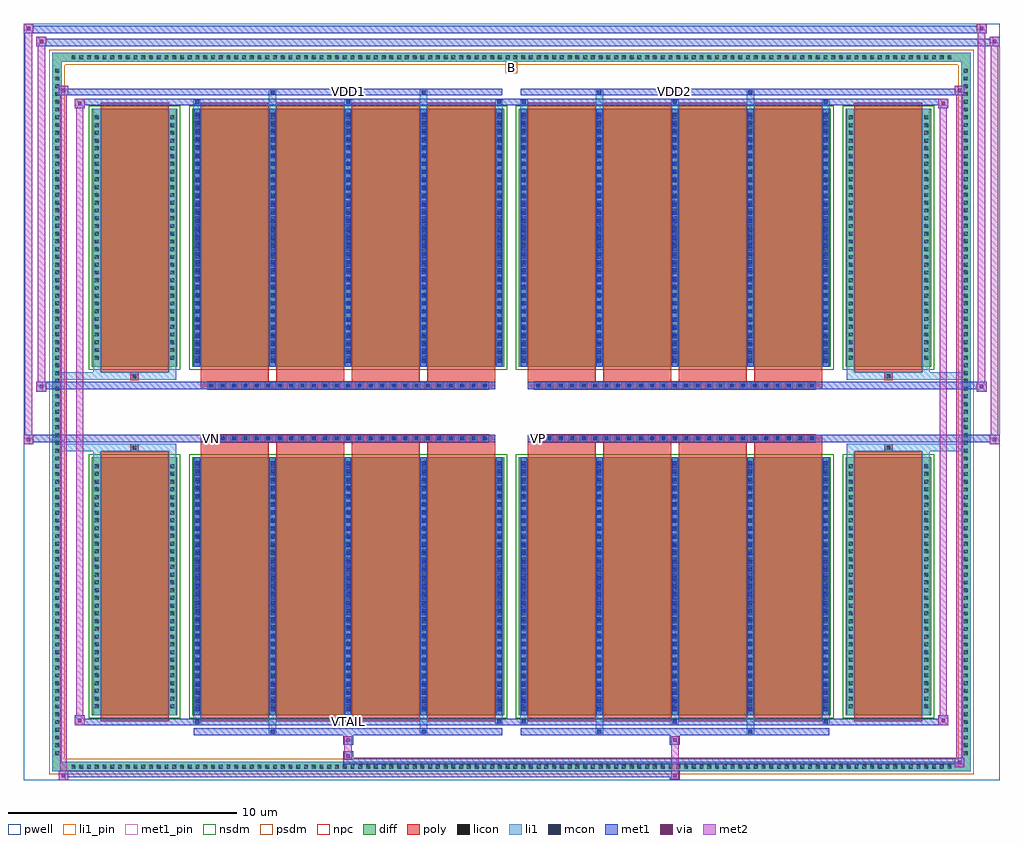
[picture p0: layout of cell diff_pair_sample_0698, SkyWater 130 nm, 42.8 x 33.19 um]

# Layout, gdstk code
import gdstk
lib = gdstk.Library(unit=1e-6, precision=5e-09)
def R(c, l, rs):  # rectangles x0, y0, x1, y1
    for r in rs: c.add(gdstk.rectangle(r[:2], r[2:], *l))
def A(c, l, x, y, w, h, nx, ny, dx, dy):  # array of equal rectangles
    R(c, l, [(x+i*dx, y+j*dy, x+i*dx+w, y+j*dy+h) for i in range(nx) for j in range(ny)])
def P(c, l, *ps):  # polygons
    for p in ps: c.add(gdstk.Polygon(p, *l))
pwell = (64, 44)
diff = (65, 20)
poly = (66, 20)
licon = (66, 44)
li1_pin = (67, 16)
li1 = (67, 20)
mcon = (67, 44)
met1_pin = (68, 16)
met1 = (68, 20)
via = (68, 44)
met2 = (69, 20)
nsdm = (93, 44)
psdm = (94, 20)
npc = (95, 20)

diff_pair_sample_0698 = lib.new_cell('diff_pair_sample_0698')
R(diff_pair_sample_0698, pwell, [(-21.4,-16.16,21.4,17.03), (-18.72,-14.35,-0.01,-0.795), (0.01,-14.35,18.72,-0.795), (-18.72,0.795,-0.01,14.35), (0.01,0.795,18.72,14.35)])
A(diff_pair_sample_0698, diff, -19.415, -15.76, 0.41, 0.41, 114, 2, 0.34, 31.11)
A(diff_pair_sample_0698, diff, -20.13, -15.165, 0.41, 0.41, 1, 89, 0, 0.34)
A(diff_pair_sample_0698, diff, 19.72, -15.165, 0.41, 0.41, 1, 89, 0, 0.34)
R(diff_pair_sample_0698, diff, [(-19.415,-15.76,19.415,-15.35), (-20.13,-15.165,-19.72,15.165), (19.72,-15.165,20.13,15.165), (-18.41,-13.305,-14.65,-1.985), (-14.01,-13.305,-0.32,-1.985), (0.32,-13.305,14.01,-1.985), (14.65,-13.305,18.41,-1.985), (-18.41,1.985,-14.65,13.305), (-14.01,1.985,-0.32,13.305), (0.32,1.985,14.01,13.305), (14.65,1.985,18.41,13.305), (-19.415,15.35,19.415,15.76)])
P(diff_pair_sample_0698, diff, [(20.13,15.76),(-20.13,15.76),(-20.13,-15.35),(-19.72,-15.35),(-19.72,15.35),(19.72,15.35),(19.72,-15.35),(-19.72,-15.35),(-20.13,-15.35),(-20.13,-15.76),(20.13,-15.76)])
A(diff_pair_sample_0698, poly, -13.62, -13.555, 2.98, 11.82, 4, 2, 3.31, 15.29)
A(diff_pair_sample_0698, poly, 0.71, -13.555, 2.98, 11.82, 4, 2, 3.31, 15.29)
A(diff_pair_sample_0698, poly, -13.62, -1.735, 2.98, 0.41, 4, 2, 3.31, 3.06)
A(diff_pair_sample_0698, poly, 0.71, -1.735, 2.98, 0.41, 4, 2, 3.31, 3.06)
A(diff_pair_sample_0698, poly, -13.33, -1.325, 0.33, 0.33, 25, 2, 0.5, 2.32)
A(diff_pair_sample_0698, poly, 1, -1.325, 0.33, 0.33, 25, 2, 0.5, 2.32)
R(diff_pair_sample_0698, poly, [(-18.02,-13.555,-15.04,-1.735), (15.04,-13.555,18.02,-1.735), (-16.695,-1.735,-16.365,-1.405), (-16.695,-1.735,-16.365,-1.405), (16.365,-1.735,16.695,-1.405), (16.365,-1.735,16.695,-1.405), (-13.62,-1.325,-0.71,-0.995), (0.71,-1.325,13.62,-0.995), (-13.62,0.995,-0.71,1.325), (0.71,0.995,13.62,1.325), (-16.695,1.405,-16.365,1.735), (-16.695,1.405,-16.365,1.735), (16.365,1.405,16.695,1.735), (16.365,1.405,16.695,1.735), (-18.02,1.735,-15.04,13.555), (15.04,1.735,18.02,13.555)])
A(diff_pair_sample_0698, licon, -19.295, -15.64, 0.17, 0.17, 114, 2, 0.34, 31.11)
A(diff_pair_sample_0698, licon, -20.01, -15.045, 0.17, 0.17, 1, 89, 0, 0.34)
A(diff_pair_sample_0698, licon, 19.84, -15.045, 0.17, 0.17, 1, 89, 0, 0.34)
A(diff_pair_sample_0698, licon, -18.27, -13, 0.17, 0.17, 1, 32, 0, 0.34)
A(diff_pair_sample_0698, licon, -14.96, -13, 0.17, 0.17, 1, 32, 0, 0.34)
A(diff_pair_sample_0698, licon, -13.87, -13, 0.17, 0.17, 5, 32, 3.31, 0.34)
A(diff_pair_sample_0698, licon, 0.46, -13, 0.17, 0.17, 5, 32, 3.31, 0.34)
A(diff_pair_sample_0698, licon, 14.79, -13, 0.17, 0.17, 1, 32, 0, 0.34)
A(diff_pair_sample_0698, licon, 18.1, -13, 0.17, 0.17, 1, 32, 0, 0.34)
A(diff_pair_sample_0698, licon, -13.25, -1.245, 0.17, 0.17, 25, 2, 0.5, 2.32)
A(diff_pair_sample_0698, licon, 1.08, -1.245, 0.17, 0.17, 25, 2, 0.5, 2.32)
A(diff_pair_sample_0698, licon, -18.27, 2.29, 0.17, 0.17, 1, 32, 0, 0.34)
A(diff_pair_sample_0698, licon, -14.96, 2.29, 0.17, 0.17, 1, 32, 0, 0.34)
A(diff_pair_sample_0698, licon, -13.87, 2.29, 0.17, 0.17, 5, 32, 3.31, 0.34)
A(diff_pair_sample_0698, licon, 0.46, 2.29, 0.17, 0.17, 5, 32, 3.31, 0.34)
A(diff_pair_sample_0698, licon, 14.79, 2.29, 0.17, 0.17, 1, 32, 0, 0.34)
A(diff_pair_sample_0698, licon, 18.1, 2.29, 0.17, 0.17, 1, 32, 0, 0.34)
R(diff_pair_sample_0698, licon, [(-16.615,-1.655,-16.445,-1.485), (16.445,-1.655,16.615,-1.485), (-16.615,1.485,-16.445,1.655), (16.445,1.485,16.615,1.655)])
R(diff_pair_sample_0698, li1_pin, [(-0.25,14.85,0.25,15.35)])
A(diff_pair_sample_0698, li1, -19.375, -15.72, 0.33, 0.33, 114, 2, 0.34, 31.11)
A(diff_pair_sample_0698, li1, -20.09, -15.125, 0.33, 0.33, 1, 89, 0, 0.34)
A(diff_pair_sample_0698, li1, 19.76, -15.125, 0.33, 0.33, 1, 89, 0, 0.34)
A(diff_pair_sample_0698, li1, -13.95, -13.68, 0.33, 0.375, 3, 2, 6.62, 26.985)
A(diff_pair_sample_0698, li1, -13.87, -13.68, 0.17, 0.17, 3, 2, 6.62, 27.19)
A(diff_pair_sample_0698, li1, 0.38, -13.68, 0.33, 0.375, 3, 2, 6.62, 26.985)
A(diff_pair_sample_0698, li1, 0.46, -13.68, 0.17, 0.17, 3, 2, 6.62, 27.19)
A(diff_pair_sample_0698, li1, -13.95, -13.305, 0.33, 11.32, 5, 2, 3.31, 15.29)
A(diff_pair_sample_0698, li1, 0.38, -13.305, 0.33, 11.32, 5, 2, 3.31, 15.29)
A(diff_pair_sample_0698, li1, -13.87, -13.13, 0.17, 0.17, 5, 31, 3.31, 0.36)
A(diff_pair_sample_0698, li1, -13.87, -13.13, 0.17, 10.97, 5, 2, 3.31, 15.29)
A(diff_pair_sample_0698, li1, 0.46, -13.13, 0.17, 0.17, 5, 31, 3.31, 0.36)
A(diff_pair_sample_0698, li1, 0.46, -13.13, 0.17, 10.97, 5, 2, 3.31, 15.29)
A(diff_pair_sample_0698, li1, -18.35, -13.08, 0.33, 0.33, 1, 32, 0, 0.34)
A(diff_pair_sample_0698, li1, -15.04, -13.08, 0.33, 0.33, 1, 32, 0, 0.34)
A(diff_pair_sample_0698, li1, -13.95, -13.08, 0.33, 0.33, 5, 32, 3.31, 0.34)
A(diff_pair_sample_0698, li1, 0.38, -13.08, 0.33, 0.33, 5, 32, 3.31, 0.34)
A(diff_pair_sample_0698, li1, 14.71, -13.08, 0.33, 0.33, 1, 32, 0, 0.34)
A(diff_pair_sample_0698, li1, 18.02, -13.08, 0.33, 0.33, 1, 32, 0, 0.34)
A(diff_pair_sample_0698, li1, -13.33, -1.325, 0.33, 0.33, 25, 2, 0.5, 2.32)
A(diff_pair_sample_0698, li1, 1, -1.325, 0.33, 0.33, 25, 2, 0.5, 2.32)
A(diff_pair_sample_0698, li1, -13.87, 2.16, 0.17, 0.17, 5, 31, 3.31, 0.36)
A(diff_pair_sample_0698, li1, 0.46, 2.16, 0.17, 0.17, 5, 31, 3.31, 0.36)
A(diff_pair_sample_0698, li1, -18.35, 2.21, 0.33, 0.33, 1, 32, 0, 0.34)
A(diff_pair_sample_0698, li1, -15.04, 2.21, 0.33, 0.33, 1, 32, 0, 0.34)
A(diff_pair_sample_0698, li1, -13.95, 2.21, 0.33, 0.33, 5, 32, 3.31, 0.34)
A(diff_pair_sample_0698, li1, 0.38, 2.21, 0.33, 0.33, 5, 32, 3.31, 0.34)
A(diff_pair_sample_0698, li1, 14.71, 2.21, 0.33, 0.33, 1, 32, 0, 0.34)
A(diff_pair_sample_0698, li1, 18.02, 2.21, 0.33, 0.33, 1, 32, 0, 0.34)
R(diff_pair_sample_0698, li1, [(-20.13,-15.76,-19.72,-15.35), (-20.13,-15.76,-19.72,-15.35), (-19.72,-15.76,19.72,-15.35), (19.72,-15.76,20.13,-15.35), (19.72,-15.76,20.13,-15.35), (-20.13,-15.35,-19.72,15.35), (19.72,-15.35,20.13,15.35), (-10.64,-14.11,-10.31,-13.305), (-10.56,-14.11,-10.39,-13.94), (-4.02,-14.11,-3.69,-13.305), (-3.94,-14.11,-3.77,-13.94), (3.69,-14.11,4.02,-13.305), (3.77,-14.11,3.94,-13.94), (10.31,-14.11,10.64,-13.305), (10.39,-14.11,10.56,-13.94), (-18.35,-13.305,-18.02,-1.985), (-15.04,-13.305,-14.71,-1.985), (14.71,-13.305,15.04,-1.985), (18.02,-13.305,18.35,-1.985), (-18.35,-1.985,-18.02,-1.405), (-15.04,-1.985,-14.71,-1.405), (14.71,-1.985,15.04,-1.405), (18.02,-1.985,18.35,-1.405), (-20.13,-1.735,-16.695,-1.405), (-18.35,-1.735,-16.695,-1.405), (-16.695,-1.735,-16.365,-1.405), (-16.365,-1.735,-14.71,-1.405), (14.71,-1.735,16.365,-1.405), (16.365,-1.735,16.695,-1.405), (16.365,-1.735,20.13,-1.405), (16.695,-1.735,18.35,-1.405), (-20.13,1.405,-16.695,1.735), (-18.35,1.405,-16.695,1.735), (-18.35,1.405,-18.02,1.985), (-16.695,1.405,-16.365,1.735), (-16.365,1.405,-14.71,1.735), (-15.04,1.405,-14.71,1.985), (14.71,1.405,16.365,1.735), (14.71,1.405,15.04,1.985), (16.365,1.405,16.695,1.735), (16.365,1.405,20.13,1.735), (16.695,1.405,18.35,1.735), (18.02,1.405,18.35,1.985), (-18.35,1.985,-18.02,13.305), (-15.04,1.985,-14.71,13.305), (14.71,1.985,15.04,13.305), (18.02,1.985,18.35,13.305), (-10.64,13.305,-10.31,14.11), (-4.02,13.305,-3.69,14.11), (3.69,13.305,4.02,14.11), (10.31,13.305,10.64,14.11), (-10.56,13.94,-10.39,14.11), (-3.94,13.94,-3.77,14.11), (3.77,13.94,3.94,14.11), (10.39,13.94,10.56,14.11), (-20.13,15.35,-19.72,15.76), (-20.13,15.35,-19.72,15.76), (-19.72,15.35,19.72,15.76), (19.72,15.35,20.13,15.76), (19.72,15.35,20.13,15.76)])
A(diff_pair_sample_0698, mcon, -13.87, -13.68, 0.17, 0.17, 3, 2, 6.62, 27.19)
A(diff_pair_sample_0698, mcon, 0.46, -13.68, 0.17, 0.17, 3, 2, 6.62, 27.19)
A(diff_pair_sample_0698, mcon, -13.87, -13.13, 0.17, 0.17, 5, 31, 3.31, 0.36)
A(diff_pair_sample_0698, mcon, 0.46, -13.13, 0.17, 0.17, 5, 31, 3.31, 0.36)
A(diff_pair_sample_0698, mcon, -13.25, -1.245, 0.17, 0.17, 25, 2, 0.5, 2.32)
A(diff_pair_sample_0698, mcon, 1.08, -1.245, 0.17, 0.17, 25, 2, 0.5, 2.32)
A(diff_pair_sample_0698, mcon, -13.87, 2.16, 0.17, 0.17, 5, 31, 3.31, 0.36)
A(diff_pair_sample_0698, mcon, 0.46, 2.16, 0.17, 0.17, 5, 31, 3.31, 0.36)
R(diff_pair_sample_0698, mcon, [(-10.56,-14.11,-10.39,-13.94), (-3.94,-14.11,-3.77,-13.94), (3.77,-14.11,3.94,-13.94), (10.39,-14.11,10.56,-13.94), (-10.56,13.94,-10.39,14.11), (-3.94,13.94,-3.77,14.11), (3.77,13.94,3.94,14.11), (10.39,13.94,10.56,14.11)])
R(diff_pair_sample_0698, met1_pin, [(-7.3,-13.72,-7.03,-13.45), (-13.3,-1.285,-13.03,-1.015), (1.03,-1.285,1.3,-1.015), (-7.3,13.9,-7.03,14.17), (7.03,13.9,7.3,14.17)])
A(diff_pair_sample_0698, met1, -13.93, -13.74, 0.29, 0.29, 3, 2, 6.62, 27.19)
A(diff_pair_sample_0698, met1, 0.4, -13.74, 0.29, 0.29, 3, 2, 6.62, 27.19)
A(diff_pair_sample_0698, met1, -13.93, -13.305, 0.29, 11.32, 5, 2, 3.31, 15.29)
A(diff_pair_sample_0698, met1, 0.4, -13.305, 0.29, 11.32, 5, 2, 3.31, 15.29)
A(diff_pair_sample_0698, met1, -13.93, -13.19, 0.29, 0.29, 5, 31, 3.31, 0.36)
A(diff_pair_sample_0698, met1, 0.4, -13.19, 0.29, 0.29, 5, 31, 3.31, 0.36)
A(diff_pair_sample_0698, met1, -13.31, -1.305, 0.29, 0.29, 25, 2, 0.5, 2.32)
A(diff_pair_sample_0698, met1, 1.02, -1.305, 0.29, 0.29, 25, 2, 0.5, 2.32)
A(diff_pair_sample_0698, met1, -13.93, 2.1, 0.29, 0.29, 5, 31, 3.31, 0.36)
A(diff_pair_sample_0698, met1, 0.4, 2.1, 0.29, 0.29, 5, 31, 3.31, 0.36)
R(diff_pair_sample_0698, met1, [(-19.86,-16.16,-19.43,-15.73), (6.95,-16.16,7.38,-15.73), (-19.86,-16.02,7.38,-15.73), (19.43,-15.59,19.86,-15.16), (-7.38,-15.45,19.86,-15.16), (-7.38,-15.31,-6.95,-14.88), (-7.38,-14.6,-6.95,-14.17), (6.95,-14.6,7.38,-14.17), (-13.93,-14.17,-0.4,-13.88), (-10.62,-14.17,-10.33,-13.88), (-4,-14.17,-3.71,-13.88), (0.4,-14.17,13.93,-13.88), (3.71,-14.17,4,-13.88), (10.33,-14.17,10.62,-13.88), (-19.15,-13.74,-18.72,-13.31), (-19.15,-13.74,-13.93,-13.45), (-13.93,-13.74,-0.4,-13.45), (-0.4,-13.74,0.4,-13.45), (0.4,-13.74,13.93,-13.45), (13.93,-13.74,19.15,-13.45), (18.72,-13.74,19.15,-13.31), (-21.4,-1.425,-20.97,-0.995), (20.97,-1.425,21.4,-0.995), (-21.4,-1.325,-0.71,-0.995), (-13.62,-1.325,-0.71,-0.995), (0.71,-1.325,13.62,-0.995), (0.71,-1.325,21.4,-0.995), (-20.83,0.895,-20.4,1.325), (20.4,0.895,20.83,1.325), (-20.83,0.995,-13.62,1.325), (-13.62,0.995,-0.71,1.325), (0.71,0.995,13.62,1.325), (13.62,0.995,20.83,1.325), (-19.15,13.31,-18.72,13.74), (18.72,13.31,19.15,13.74), (-19.15,13.45,-13.93,13.74), (-13.93,13.45,-0.4,13.74), (-0.4,13.45,0.4,13.74), (0.4,13.45,13.93,13.74), (13.93,13.45,19.15,13.74), (-19.86,13.88,-19.43,14.31), (-19.86,13.88,-13.93,14.17), (-13.93,13.88,-0.4,14.17), (-10.62,13.88,-10.33,14.17), (-4,13.88,-3.71,14.17), (0.4,13.88,13.93,14.17), (3.71,13.88,4,14.17), (10.33,13.88,10.62,14.17), (13.93,13.88,19.86,14.17), (19.43,13.88,19.86,14.31), (-20.83,16.03,-20.4,16.46), (-20.83,16.03,-18.72,16.36), (-18.72,16.03,18.72,16.36), (18.72,16.03,21.4,16.36), (20.97,16.03,21.4,16.46), (-21.4,16.6,-20.97,17.03), (-21.4,16.6,-18.72,16.93), (-18.72,16.6,18.72,16.93), (18.72,16.6,20.83,16.93), (20.4,16.6,20.83,17.03)])
R(diff_pair_sample_0698, via, [(-19.72,-16.02,-19.57,-15.87), (7.09,-16.02,7.24,-15.87), (19.57,-15.45,19.72,-15.3), (-7.24,-15.17,-7.09,-15.02), (-7.24,-14.46,-7.09,-14.31), (7.09,-14.46,7.24,-14.31), (-19.01,-13.6,-18.86,-13.45), (18.86,-13.6,19.01,-13.45), (-21.26,-1.285,-21.11,-1.135), (21.11,-1.285,21.26,-1.135), (-20.69,1.035,-20.54,1.185), (20.54,1.035,20.69,1.185), (-19.01,13.45,-18.86,13.6), (18.86,13.45,19.01,13.6), (-19.72,14.02,-19.57,14.17), (19.57,14.02,19.72,14.17), (-20.69,16.17,-20.54,16.32), (21.11,16.17,21.26,16.32), (-21.26,16.74,-21.11,16.89), (20.54,16.74,20.69,16.89)])
R(diff_pair_sample_0698, met2, [(-19.86,-16.16,-19.43,-15.73), (-19.79,-16.16,-19.5,14.31), (-19.5,-16.16,-19.43,-15.73), (-19.81,-16.11,-19.48,-15.78), (7,-16.11,7.33,-15.78), (7,-15.78,7.33,-14.55), (19.43,-15.59,19.86,-15.16), (19.5,-15.59,19.79,14.31), (19.79,-15.59,19.86,-15.16), (19.48,-15.54,19.81,-15.21), (-7.33,-15.26,-7,-14.93), (-7.33,-14.93,-7,-14.55), (-7.33,-14.55,-7,-14.22), (7,-14.55,7.33,-14.22), (-19.15,-13.74,-18.72,-13.31), (-19.08,-13.74,-18.79,13.74), (-18.79,-13.74,-18.72,-13.31), (18.72,-13.74,19.15,-13.31), (18.79,-13.74,19.08,13.74), (19.08,-13.74,19.15,-13.31), (-19.1,-13.69,-18.77,-13.36), (18.77,-13.69,19.1,-13.36), (-21.4,-1.425,-20.97,-0.995), (-21.35,-1.425,-21.02,17.03), (-21.02,-1.425,-20.97,-0.995), (20.97,-1.425,21.4,-0.995), (21.02,-1.425,21.35,16.46), (21.35,-1.425,21.4,-0.995), (-21.35,-1.375,-21.02,-1.045), (21.02,-1.375,21.35,-1.045), (-20.83,0.895,-20.4,1.325), (-20.78,0.895,-20.45,16.46), (-20.45,0.895,-20.4,1.325), (20.4,0.895,20.83,1.325), (20.45,0.895,20.78,17.03), (20.78,0.895,20.83,1.325), (-20.78,0.945,-20.45,1.275), (20.45,0.945,20.78,1.275), (-19.15,13.31,-18.72,13.74), (-18.79,13.31,-18.72,13.74), (18.72,13.31,19.15,13.74), (19.08,13.31,19.15,13.74), (-19.1,13.36,-18.77,13.69), (18.77,13.36,19.1,13.69), (-19.86,13.88,-19.43,14.31), (-19.5,13.88,-19.43,14.31), (19.43,13.88,19.86,14.31), (19.79,13.88,19.86,14.31), (-19.81,13.93,-19.48,14.26), (19.48,13.93,19.81,14.26), (-20.83,16.03,-20.4,16.46), (-20.45,16.03,-20.4,16.46), (20.97,16.03,21.4,16.46), (21.35,16.03,21.4,16.46), (-20.78,16.08,-20.45,16.41), (21.02,16.08,21.35,16.41), (-21.4,16.6,-20.97,17.03), (-21.02,16.6,-20.97,17.03), (20.4,16.6,20.83,17.03), (20.78,16.6,20.83,17.03), (-21.35,16.65,-21.02,16.98), (20.45,16.65,20.78,16.98)])
R(diff_pair_sample_0698, nsdm, [(-18.54,-13.435,-14.52,-1.855), (-14.14,-13.435,-0.19,-1.855), (0.19,-13.435,14.14,-1.855), (14.52,-13.435,18.54,-1.855), (-18.54,1.855,-14.52,13.435), (-14.14,1.855,-0.19,13.435), (0.19,1.855,14.14,13.435), (14.52,1.855,18.54,13.435)])
P(diff_pair_sample_0698, psdm, [(20.26,15.89),(-20.26,15.89),(-20.26,-15.22),(-19.59,-15.22),(-19.59,15.22),(19.59,15.22),(19.59,-15.22),(-19.59,-15.22),(-20.26,-15.22),(-20.26,-15.89),(20.26,-15.89)])
A(diff_pair_sample_0698, npc, -13.35, -1.345, 0.37, 0.37, 25, 2, 0.5, 2.32)
A(diff_pair_sample_0698, npc, 0.98, -1.345, 0.37, 0.37, 25, 2, 0.5, 2.32)
R(diff_pair_sample_0698, npc, [(-16.715,-1.755,-16.345,-1.385), (16.345,-1.755,16.715,-1.385), (-13.35,-1.345,-12.48,-0.975), (-13.35,-1.345,-12.48,-0.975), (-12.85,-1.345,-11.98,-0.975), (-12.85,-1.345,-11.98,-0.975), (-12.35,-1.345,-11.48,-0.975), (-12.35,-1.345,-11.48,-0.975), (-11.85,-1.345,-10.98,-0.975), (-11.85,-1.345,-10.98,-0.975), (-11.35,-1.345,-10.48,-0.975), (-11.35,-1.345,-10.48,-0.975), (-10.85,-1.345,-9.98,-0.975), (-10.85,-1.345,-9.98,-0.975), (-10.35,-1.345,-9.48,-0.975), (-10.35,-1.345,-9.48,-0.975), (-9.85,-1.345,-8.98,-0.975), (-9.85,-1.345,-8.98,-0.975), (-9.35,-1.345,-8.48,-0.975), (-9.35,-1.345,-8.48,-0.975), (-8.85,-1.345,-7.98,-0.975), (-8.85,-1.345,-7.98,-0.975), (-8.35,-1.345,-7.48,-0.975), (-8.35,-1.345,-7.48,-0.975), (-7.85,-1.345,-6.98,-0.975), (-7.85,-1.345,-6.98,-0.975), (-7.35,-1.345,-6.48,-0.975), (-7.35,-1.345,-6.48,-0.975), (-6.85,-1.345,-5.98,-0.975), (-6.85,-1.345,-5.98,-0.975), (-6.35,-1.345,-5.48,-0.975), (-6.35,-1.345,-5.48,-0.975), (-5.85,-1.345,-4.98,-0.975), (-5.85,-1.345,-4.98,-0.975), (-5.35,-1.345,-4.48,-0.975), (-5.35,-1.345,-4.48,-0.975), (-4.85,-1.345,-3.98,-0.975), (-4.85,-1.345,-3.98,-0.975), (-4.35,-1.345,-3.48,-0.975), (-4.35,-1.345,-3.48,-0.975), (-3.85,-1.345,-2.98,-0.975), (-3.85,-1.345,-2.98,-0.975), (-3.35,-1.345,-2.48,-0.975), (-3.35,-1.345,-2.48,-0.975), (-2.85,-1.345,-1.98,-0.975), (-2.85,-1.345,-1.98,-0.975), (-2.35,-1.345,-1.48,-0.975), (-2.35,-1.345,-1.48,-0.975), (-1.85,-1.345,-0.98,-0.975), (-1.85,-1.345,-0.98,-0.975), (0.98,-1.345,1.85,-0.975), (0.98,-1.345,1.85,-0.975), (1.48,-1.345,2.35,-0.975), (1.48,-1.345,2.35,-0.975), (1.98,-1.345,2.85,-0.975), (1.98,-1.345,2.85,-0.975), (2.48,-1.345,3.35,-0.975), (2.48,-1.345,3.35,-0.975), (2.98,-1.345,3.85,-0.975), (2.98,-1.345,3.85,-0.975), (3.48,-1.345,4.35,-0.975), (3.48,-1.345,4.35,-0.975), (3.98,-1.345,4.85,-0.975), (3.98,-1.345,4.85,-0.975), (4.48,-1.345,5.35,-0.975), (4.48,-1.345,5.35,-0.975), (4.98,-1.345,5.85,-0.975), (4.98,-1.345,5.85,-0.975), (5.48,-1.345,6.35,-0.975), (5.48,-1.345,6.35,-0.975), (5.98,-1.345,6.85,-0.975), (5.98,-1.345,6.85,-0.975), (6.48,-1.345,7.35,-0.975), (6.48,-1.345,7.35,-0.975), (6.98,-1.345,7.85,-0.975), (6.98,-1.345,7.85,-0.975), (7.48,-1.345,8.35,-0.975), (7.48,-1.345,8.35,-0.975), (7.98,-1.345,8.85,-0.975), (7.98,-1.345,8.85,-0.975), (8.48,-1.345,9.35,-0.975), (8.48,-1.345,9.35,-0.975), (8.98,-1.345,9.85,-0.975), (8.98,-1.345,9.85,-0.975), (9.48,-1.345,10.35,-0.975), (9.48,-1.345,10.35,-0.975), (9.98,-1.345,10.85,-0.975), (9.98,-1.345,10.85,-0.975), (10.48,-1.345,11.35,-0.975), (10.48,-1.345,11.35,-0.975), (10.98,-1.345,11.85,-0.975), (10.98,-1.345,11.85,-0.975), (11.48,-1.345,12.35,-0.975), (11.48,-1.345,12.35,-0.975), (11.98,-1.345,12.85,-0.975), (11.98,-1.345,12.85,-0.975), (12.48,-1.345,13.35,-0.975), (12.48,-1.345,13.35,-0.975), (-13.35,0.975,-12.48,1.345), (-13.35,0.975,-12.48,1.345), (-12.85,0.975,-11.98,1.345), (-12.85,0.975,-11.98,1.345), (-12.35,0.975,-11.48,1.345), (-12.35,0.975,-11.48,1.345), (-11.85,0.975,-10.98,1.345), (-11.85,0.975,-10.98,1.345), (-11.35,0.975,-10.48,1.345), (-11.35,0.975,-10.48,1.345), (-10.85,0.975,-9.98,1.345), (-10.85,0.975,-9.98,1.345), (-10.35,0.975,-9.48,1.345), (-10.35,0.975,-9.48,1.345), (-9.85,0.975,-8.98,1.345), (-9.85,0.975,-8.98,1.345), (-9.35,0.975,-8.48,1.345), (-9.35,0.975,-8.48,1.345), (-8.85,0.975,-7.98,1.345), (-8.85,0.975,-7.98,1.345), (-8.35,0.975,-7.48,1.345), (-8.35,0.975,-7.48,1.345), (-7.85,0.975,-6.98,1.345), (-7.85,0.975,-6.98,1.345), (-7.35,0.975,-6.48,1.345), (-7.35,0.975,-6.48,1.345), (-6.85,0.975,-5.98,1.345), (-6.85,0.975,-5.98,1.345), (-6.35,0.975,-5.48,1.345), (-6.35,0.975,-5.48,1.345), (-5.85,0.975,-4.98,1.345), (-5.85,0.975,-4.98,1.345), (-5.35,0.975,-4.48,1.345), (-5.35,0.975,-4.48,1.345), (-4.85,0.975,-3.98,1.345), (-4.85,0.975,-3.98,1.345), (-4.35,0.975,-3.48,1.345), (-4.35,0.975,-3.48,1.345), (-3.85,0.975,-2.98,1.345), (-3.85,0.975,-2.98,1.345), (-3.35,0.975,-2.48,1.345), (-3.35,0.975,-2.48,1.345), (-2.85,0.975,-1.98,1.345), (-2.85,0.975,-1.98,1.345), (-2.35,0.975,-1.48,1.345), (-2.35,0.975,-1.48,1.345), (-1.85,0.975,-0.98,1.345), (-1.85,0.975,-0.98,1.345), (0.98,0.975,1.85,1.345), (0.98,0.975,1.85,1.345), (1.48,0.975,2.35,1.345), (1.48,0.975,2.35,1.345), (1.98,0.975,2.85,1.345), (1.98,0.975,2.85,1.345), (2.48,0.975,3.35,1.345), (2.48,0.975,3.35,1.345), (2.98,0.975,3.85,1.345), (2.98,0.975,3.85,1.345), (3.48,0.975,4.35,1.345), (3.48,0.975,4.35,1.345), (3.98,0.975,4.85,1.345), (3.98,0.975,4.85,1.345), (4.48,0.975,5.35,1.345), (4.48,0.975,5.35,1.345), (4.98,0.975,5.85,1.345), (4.98,0.975,5.85,1.345), (5.48,0.975,6.35,1.345), (5.48,0.975,6.35,1.345), (5.98,0.975,6.85,1.345), (5.98,0.975,6.85,1.345), (6.48,0.975,7.35,1.345), (6.48,0.975,7.35,1.345), (6.98,0.975,7.85,1.345), (6.98,0.975,7.85,1.345), (7.48,0.975,8.35,1.345), (7.48,0.975,8.35,1.345), (7.98,0.975,8.85,1.345), (7.98,0.975,8.85,1.345), (8.48,0.975,9.35,1.345), (8.48,0.975,9.35,1.345), (8.98,0.975,9.85,1.345), (8.98,0.975,9.85,1.345), (9.48,0.975,10.35,1.345), (9.48,0.975,10.35,1.345), (9.98,0.975,10.85,1.345), (9.98,0.975,10.85,1.345), (10.48,0.975,11.35,1.345), (10.48,0.975,11.35,1.345), (10.98,0.975,11.85,1.345), (10.98,0.975,11.85,1.345), (11.48,0.975,12.35,1.345), (11.48,0.975,12.35,1.345), (11.98,0.975,12.85,1.345), (11.98,0.975,12.85,1.345), (12.48,0.975,13.35,1.345), (12.48,0.975,13.35,1.345), (-16.715,1.385,-16.345,1.755), (16.345,1.385,16.715,1.755)])
diff_pair_sample_0698.add(gdstk.Label('VTAIL', (-7.165,-13.585), layer=68, texttype=5))
diff_pair_sample_0698.add(gdstk.Label('VN', (-13.165,-1.15), layer=68, texttype=5))
diff_pair_sample_0698.add(gdstk.Label('VP', (1.165,-1.15), layer=68, texttype=5))
diff_pair_sample_0698.add(gdstk.Label('B', (0,15.1), layer=67, texttype=5))
diff_pair_sample_0698.add(gdstk.Label('VDD2', (7.165,14.035), layer=68, texttype=5))
diff_pair_sample_0698.add(gdstk.Label('VDD1', (-7.165,14.035), layer=68, texttype=5))

lib.write_gds('diff_pair_sample_0698.gds')
